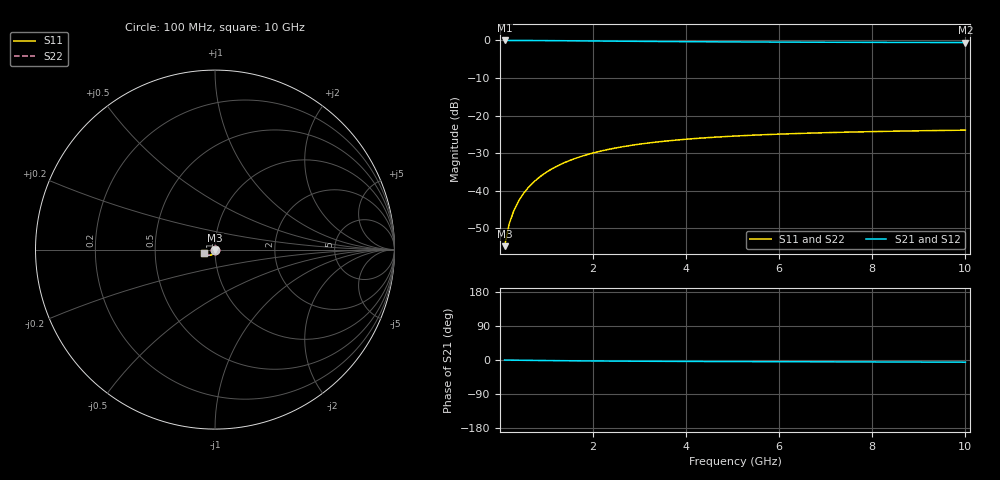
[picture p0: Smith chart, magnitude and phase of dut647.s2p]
! Touchstone file exported from HFSS 2024.1.0
!  File:  C:/UserFiles/LocalFiles/RDL_TSV_Batchsim/temp_TSV1_647_1779791751.aedt
!  Generated:  06:41:38 PM May 26, 2026
!  Design:  TSV1
!  Project:  temp_TSV1_647_1779791751
!  Setup:  Setup1
!  Solution:  Sweep
! Variables:
!  dtsv = 13.06um
!  hbump = 3um
!  htsv = 89.47um
!  lrdl = 252.1521522um
!  p = 40
!  p1 = 49.1um
!  t = 500um
!  trdl = 3um
!  wrdl = 24.89489489um
# GHz S MA R 50.000000
! Terminal data exported
! Port[1] = TSV22_T1
! Port[2] = TSV22_T2
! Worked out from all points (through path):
!   100 points, 100 MHz to 10 GHz, reference 50 ohm
!   highest |S21| = 0.00 dB at 100 MHz (marker M1); lowest = -0.6 dB at 10 GHz (marker M2)
!   lowest |S11| = -54.8 dB at 100 MHz (marker M3), VSWR 1.00, Z = 50 - j0.182 ohm
!   |S11| at or under -10 dB: start of sweep to end of sweep
!   |S22| runs from -54.8 to -23.9 dB; largest |S21 - S12| = 5.3e-15
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0.1  0.00182 -88.7  0.9998 -0.2  0.9998 -0.2  0.00182 -88.7
! Gamma 0 0 0 0
! Port Impedance 50 0 50 0
0.2  0.003637 -91.7  0.9997 -0.3  0.9997 -0.3  0.003637 -91.7
0.3  0.005452 -93.8  0.9994 -0.5  0.9994 -0.5  0.005452 -93.8
0.4  0.007259 -95.7  0.999 -0.6  0.999 -0.6  0.007259 -95.7
0.5  0.009051 -97.5  0.9985 -0.8  0.9985 -0.8  0.009051 -97.5
0.6  0.01082 -99.3  0.9979 -0.9  0.9979 -0.9  0.01082 -99.3
0.7  0.01257 -101.0  0.9973 -1.0  0.9973 -1.0  0.01257 -101.0
0.8  0.01428 -102.7  0.9965 -1.2  0.9965 -1.2  0.01428 -102.7
0.9  0.01596 -104.4  0.9957 -1.3  0.9957 -1.3  0.01596 -104.4
1.1  0.01921 -107.6  0.9939 -1.6  0.9939 -1.6  0.01921 -107.6
1.4  0.02377 -112.2  0.9909 -1.9  0.9909 -1.9  0.02377 -112.2
1.6  0.02659 -115.0  0.9887 -2.1  0.9887 -2.1  0.02659 -115.0
1.8  0.02923 -117.7  0.9864 -2.3  0.9864 -2.3  0.02923 -117.7
2.1  0.03286 -121.6  0.9829 -2.6  0.9829 -2.6  0.03286 -121.6
2.5  0.03711 -126.2  0.9783 -2.9  0.9783 -2.9  0.03711 -126.2
2.9  0.04076 -130.3  0.9739 -3.2  0.9739 -3.2  0.04076 -130.3
3.4  0.0446 -134.9  0.9689 -3.5  0.9689 -3.5  0.0446 -134.9
4.2  0.04943 -141.1  0.962 -3.8  0.962 -3.8  0.04943 -141.1
5.1  0.05349 -146.7  0.9557 -4.2  0.9557 -4.2  0.05349 -146.7
6.7  0.0584 -154.4  0.9477 -4.7  0.9477 -4.7  0.0584 -154.4
8.4  0.06175 -160.5  0.9419 -5.2  0.9419 -5.2  0.06175 -160.5
10  0.06388 -165.1  0.9381 -5.7  0.9381 -5.7  0.06388 -165.1
